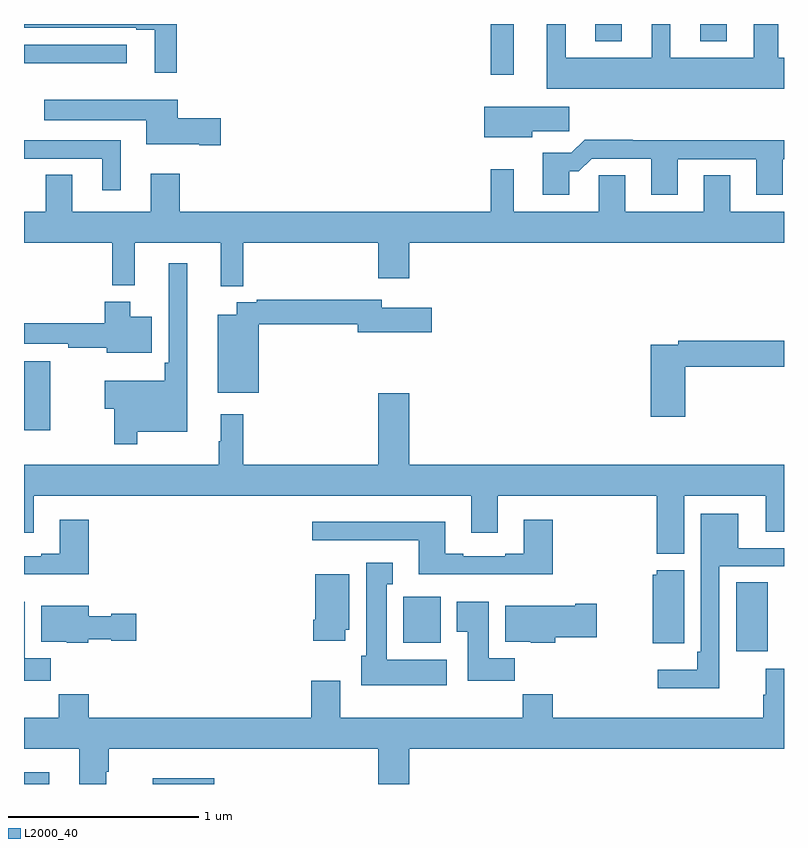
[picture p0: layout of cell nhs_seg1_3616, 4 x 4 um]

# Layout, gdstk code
import gdstk
lib = gdstk.Library(unit=1e-6, precision=1e-09)
def R(c, l, rs):  # rectangles x0, y0, x1, y1
    for r in rs: c.add(gdstk.rectangle(r[:2], r[2:], *l))
def P(c, l, *ps):  # polygons
    for p in ps: c.add(gdstk.Polygon(p, *l))
L2000_40 = (2000, 40)

nhs_seg1_3616 = lib.new_cell('nhs_seg1_3616')
R(nhs_seg1_3616, L2000_40, [(307,566.199,307.132,566.26), (307.677,566.199,308.002,566.23), (310.748,566.898,310.915,567.26), (308.996,566.942,309.193,567.184), (307,568.062,307.138,568.423), (309.456,569.931,309.577,570.199), (307,569.993,307.54,570.09), (310.007,570.107,310.147,570.199), (310.559,570.107,310.699,570.199)])
P(nhs_seg1_3616, L2000_40, [(307.805,570.199),(307,570.199),(307,570.18),(307.592,570.18),(307.592,570.168),(307.688,570.168),(307.688,569.943),(307.805,569.943)],
  [(311,570.022),(310.969,570.022),(310.969,570.199),(310.841,570.199),(310.841,570.022),(310.402,570.022),(310.402,570.199),(310.304,570.199),(310.304,570.022),(309.85,570.022),(309.85,570.199),(309.752,570.199),(309.752,569.858),(311,569.858)],
  [(308.035,569.702),(307.81,569.702),(307.81,569.8),(307.107,569.8),(307.107,569.693),(307.643,569.693),(307.643,569.567),(307.922,569.567),(307.922,569.56),(308.035,569.56)],
  [(309.676,569.635),(309.871,569.635),(309.871,569.764),(309.422,569.764),(309.422,569.603),(309.676,569.603)],
  [(309.871,569.423),(309.92,569.423),(309.987,569.49),(310.301,569.49),(310.301,569.301),(310.441,569.301),(310.441,569.487),(310.853,569.487),(310.853,569.301),(310.993,569.301),(310.993,569.487),(311,569.487),(311,569.588),(310.205,569.588),(310.205,569.591),(309.95,569.591),(309.88,569.521),(309.731,569.521),(309.731,569.301),(309.871,569.301)],
  [(307.51,569.586),(307,569.586),(307,569.49),(307.412,569.49),(307.412,569.325),(307.51,569.325)],
  [(308.153,569.048),(308.864,569.048),(308.864,568.86),(309.028,568.86),(309.028,569.048),(311,569.048),(311,569.212),(310.717,569.212),(310.717,569.402),(310.577,569.402),(310.577,569.212),(310.165,569.212),(310.165,569.402),(310.026,569.402),(310.026,569.212),(309.577,569.212),(309.577,569.434),(309.456,569.434),(309.456,569.212),(307.82,569.212),(307.82,569.41),(307.667,569.41),(307.667,569.212),(307.255,569.212),(307.255,569.405),(307.115,569.405),(307.115,569.212),(307,569.212),(307,569.048),(307.465,569.048),(307.465,568.823),(307.583,568.823),(307.583,569.048),(308.036,569.048),(308.036,568.819),(308.153,568.819)],
  [(307.597,568.052),(307.858,568.052),(307.858,568.939),(307.761,568.939),(307.761,568.417),(307.741,568.417),(307.741,568.321),(307.424,568.321),(307.424,568.174),(307.476,568.174),(307.476,567.987),(307.597,567.987)],
  [(308.236,568.618),(308.756,568.618),(308.756,568.576),(309.145,568.576),(309.145,568.705),(308.884,568.705),(308.884,568.747),(308.224,568.747),(308.224,568.734),(308.12,568.734),(308.12,568.669),(308.021,568.669),(308.021,568.259),(308.236,568.259)],
  [(307.672,568.657),(307.558,568.657),(307.558,568.738),(307.424,568.738),(307.424,568.624),(307,568.624),(307,568.515),(307.234,568.515),(307.234,568.495),(307.436,568.495),(307.436,568.469),(307.672,568.469)],
  [(310.481,568.396),(311,568.396),(311,568.532),(310.444,568.532),(310.444,568.512),(310.298,568.512),(310.298,568.131),(310.481,568.131)],
  [(310.474,567.716),(310.904,567.716),(310.904,567.526),(311,567.526),(311,567.88),(309.028,567.88),(309.028,568.255),(308.864,568.255),(308.864,567.88),(308.153,567.88),(308.153,568.144),(308.036,568.144),(308.036,568.004),(308.025,568.004),(308.025,567.88),(307,567.88),(307,567.522),(307.051,567.522),(307.051,567.716),(309.353,567.716),(309.353,567.522),(309.493,567.522),(309.493,567.716),(310.331,567.716),(310.331,567.41),(310.474,567.41)],
  [(310.659,567.345),(311,567.345),(311,567.441),(310.759,567.441),(310.759,567.622),(310.563,567.622),(310.563,566.896),(310.543,566.896),(310.543,566.8),(310.335,566.8),(310.335,566.702),(310.659,566.702)],
  [(307.34,567.589),(307.187,567.589),(307.187,567.412),(307.091,567.412),(307.091,567.399),(307,567.399),(307,567.302),(307.34,567.302)],
  [(309.782,567.589),(309.629,567.589),(309.629,567.412),(309.533,567.412),(309.533,567.399),(309.313,567.399),(309.313,567.412),(309.217,567.412),(309.217,567.58),(308.517,567.58),(308.517,567.483),(309.077,567.483),(309.077,567.302),(309.782,567.302)],
  [(309.226,566.854),(308.908,566.854),(308.908,567.251),(308.941,567.251),(308.941,567.364),(308.801,567.364),(308.801,566.874),(308.774,566.874),(308.774,566.72),(309.226,566.72)],
  [(310.474,567.325),(310.329,567.325),(310.329,567.3),(310.31,567.3),(310.31,566.939),(310.474,566.939)],
  [(308.692,567.012),(308.713,567.012),(308.713,567.304),(308.534,567.304),(308.534,567.064),(308.522,567.064),(308.522,566.952),(308.692,566.952)],
  [(307.142,566.86),(307.003,566.86),(307.003,567.157),(307,567.157),(307,566.742),(307.142,566.742)],
  [(309.584,566.86),(309.445,566.86),(309.445,567.157),(309.278,567.157),(309.278,567.001),(309.335,567.001),(309.335,566.742),(309.584,566.742)],
  [(309.797,566.971),(310.015,566.971),(310.015,567.149),(309.902,567.149),(309.902,567.136),(309.533,567.136),(309.533,566.948),(309.666,566.948),(309.666,566.942),(309.797,566.942)],
  [(307.338,566.96),(307.458,566.96),(307.458,566.953),(307.591,566.953),(307.591,567.095),(307.458,567.095),(307.458,567.082),(307.342,567.082),(307.342,567.136),(307.091,567.136),(307.091,566.948),(307.224,566.948),(307.224,566.942),(307.338,566.942)],
  [(307.432,566.264),(307.445,566.264),(307.445,566.384),(308.864,566.384),(308.864,566.199),(309.028,566.199),(309.028,566.384),(311,566.384),(311,566.806),(310.904,566.806),(310.904,566.669),(310.892,566.669),(310.892,566.548),(309.782,566.548),(309.782,566.672),(309.625,566.672),(309.625,566.548),(308.665,566.548),(308.665,566.743),(308.513,566.743),(308.513,566.548),(307.34,566.548),(307.34,566.672),(307.183,566.672),(307.183,566.548),(307,566.548),(307,566.384),(307.292,566.384),(307.292,566.199),(307.432,566.199)])

lib.write_gds('nhs_seg1_3616.gds')
